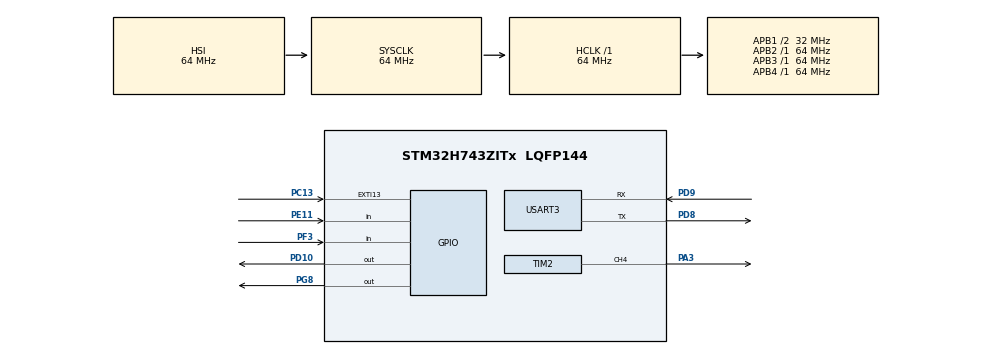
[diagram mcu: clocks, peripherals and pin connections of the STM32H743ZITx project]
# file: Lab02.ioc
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Mcu.Family=STM32H7
Mcu.Name=STM32H743ZITx
Mcu.Package=LQFP144
NVIC.EXTI15_10_IRQn=true\:0\:0\:false\:false\:true\:true\:true\:true
NVIC.PriorityGroup=NVIC_PRIORITYGROUP_4
NVIC.TIM2_IRQn=true\:0\:0\:false\:false\:true\:true\:true\:true
PA3.Signal=S_TIM2_CH4
PC13.GPIO_ModeDefaultEXTI=GPIO_MODE_IT_RISING
PC13.GPIO_PuPd=GPIO_NOPULL
PC13.Signal=GPXTI13
PD10.Signal=GPIO_Output
PD8.Mode=Asynchronous
PD8.Signal=USART3_TX
PD9.Mode=Asynchronous
PD9.Signal=USART3_RX
PE11.GPIO_PuPd=GPIO_PULLDOWN
PE11.Signal=GPIO_Input
PF3.GPIO_PuPd=GPIO_PULLDOWN
PF3.Signal=GPIO_Input
PG8.Signal=GPIO_Output
ProjectManager.HeapSize=0x200
ProjectManager.StackSize=0x400
ProjectManager.TargetToolchain=STM32CubeIDE
RCC.ADCFreq_Value=129000000
RCC.APB1Freq_Value=32000000
RCC.APB2Freq_Value=64000000
RCC.APB3Freq_Value=64000000
RCC.APB4Freq_Value=64000000
RCC.CortexFreq_Value=64000000
RCC.D2PPRE1=RCC_APB1_DIV2
RCC.HCLKFreq_Value=64000000
RCC.SYSCLKFreq_VALUE=64000000
RCC.USBFreq_Value=129000000
SH.S_TIM2_CH4.0=TIM2_CH4,PWM Generation4 CH4
TIM2.Channel-PWM\ Generation4\ CH4=TIM_CHANNEL_4
TIM2.Period=6400 - 1
USART3.VirtualMode-Asynchronous=VM_ASYNC
VP_TIM2_VS_ClockSourceINT.Mode=Internal
board=custom

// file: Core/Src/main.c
/* USER CODE BEGIN Header */
/**
  ******************************************************************************
  * @file           : main.c
  * @brief          : Main program body
  ******************************************************************************
  * @attention
  *
  * Copyright (c) 2024 STMicroelectronics.
  * All rights reserved.
  *
  * This software is licensed under terms that can be found in the LICENSE file
  * in the root directory of this software component.
  * If no LICENSE file comes with this software, it is provided AS-IS.
  *
  ******************************************************************************
  */
/* USER CODE END Header */
#include "main.h"

/* USER CODE BEGIN Includes */
#include "step_motor.h"
#include <math.h>
#include <stdio.h>
#include <stdlib.h>
#include <stdarg.h>
/* USER CODE END Includes */

TIM_HandleTypeDef htim2;

UART_HandleTypeDef huart3;

void SystemClock_Config(void);
static void MX_GPIO_Init(void);
static void MX_TIM2_Init(void);
static void MX_USART3_UART_Init(void);

/* USER CODE BEGIN 0 */
// Used for calibrate
uint32_t total_pulses = 0;   // Record the total pulses needed in half loop
uint32_t pulseCount = 0;	// Record the count of current pulses
uint8_t loop_num = 0; 	// Record the current loop

// Used for accelaration
// #define MAX_PULSES 200
uint32_t maxPulses = 800;
uint32_t startTime; // To keep track of when acceleration started
uint32_t lastTime;
uint32_t freqArray[100000];
uint32_t decelerateCount = 0;
uint32_t constantT = 75;
uint32_t R0 = 64e6 / 60000;
uint32_t Rs = 64e6 / 12000;
uint32_t curR = 64e6 / 60000;

volatile uint8_t isPressed = 0; 	// Check if we pressed user button
volatile uint8_t isAccelerating = 1; 	// Check if we need to accelerate
volatile uint8_t isDecelerating = 0; 	// Check if we need to decelerate

// DEBUG VARIABLE
//volatile uint16_t ii = 0;
//volatile uint16_t jj = 0;
//volatile uint16_t kk = 0;
//volatile uint32_t curPeriod = 0;
//volatile uint32_t curElapseTime = 0;

// Playing Variable
// volatile uint8_t isPlaying = 0;
uint32_t curNoteIndex = 0;
// Frequency array for "Twinkle, Twinkle, Little Star"
uint32_t noteFrequencies[] = {
    // 1 1 5 5 6 6 5
    523 * 7, 523 * 7, 392 * 7, 392 * 7, 440 * 7, 440 * 7, 392 * 7,
    // 4 4 3 3 2 2 1
    698 * 7, 698 * 7, 659 * 7, 659 * 7, 587 * 7, 587 * 7, 523 * 7,
    // 5 5 4 4 3 3 2
    392 * 7, 392 * 7, 698 * 7, 698 * 7, 659 * 7, 659 * 7, 587 * 7,
    // 5 5 4 4 3 3 2
    392 * 7, 392 * 7, 698 * 7, 698 * 7, 659 * 7, 659 * 7, 587 * 7,
    // 1 1 5 5 6 6 5
    523 * 7, 523 * 7, 392 * 7, 392 * 7, 440 * 7, 440 * 7, 392 * 7,
    // 4 4 3 3 2 2 1
    698 * 7, 698 * 7, 659 * 7, 659 * 7, 587 * 7, 587 * 7, 523 * 7
};

size_t noteSize = sizeof(noteFrequencies) / sizeof(noteFrequencies[0]);

//----------------
//Support code (copy&paste):
void mywrite (unsigned char *st, int nby)
{
	if (nby) HAL_UART_Transmit(&huart3,st,nby,10);
}

void myprintf (const char *fmt, ...)
{
	va_list arglist;
	int nby;
	unsigned char st[256];
	if (!fmt) return;
	va_start(arglist,fmt);
	nby = vsnprintf((char *)st,sizeof(st),fmt,arglist);
	va_end(arglist);
	if (nby < 0) { nby = sizeof(st)-1; } //print truncated string in case too long
	if (nby) HAL_UART_Transmit(&huart3,st,nby,10);
}

void setToCenter(){
	if(loop_num == 1){
	  pulseCount++;
	} else if(loop_num == 2){
		total_pulses--;
		if(total_pulses == 0){
			HAL_TIM_PWM_Stop(&htim2, TIM_CHANNEL_4); // Stop PWM
			HAL_GPIO_WritePin(GPIOG, GPIO_PIN_8, GPIO_PIN_SET);
			// HAL_Delay(5000);
		}
	}
}

void accelerationProcess(uint32_t maxFreq){
	 if(isPressed  == 1){
		if(pulseCount < maxPulses){
			// Get current time and elapsetime during a pulse
			 uint32_t currentTime = HAL_GetTick();
			 uint32_t elapseTime = currentTime - lastTime;
			 // curR represent latest frequency
			 // I need to initialize the array here so that it could store all the required value,
			 // If I put this array after I update curR, I won't come back to the initial period.
			 freqArray[pulseCount] = curR;	// Using a array to store the latest frequency

//           DEBUG VARIABLE
//			 curPeriod = 64e6 / curR ;
//			 curElapseTime = elapseTime;
			 // POSSIBLE BUG: Since curR is a integer, the initial value could become 1066, which could
			 // lead 64e6 / 1066 become 60037, a bit of different with 60000, and finally the period will
			 // recover to this value.

			 curR = curR + ((Rs - R0) * elapseTime) / constantT;	// Update formula
			 if(curR > maxFreq){
				 curR = maxFreq;
			 }
			 uint32_t newPeriod = 64e6 / curR ;	// Update the new period and duty cycle

			 TIM2->ARR = newPeriod;
			 TIM2->CCR4 = newPeriod / 2;
			 pulseCount++;
//			 DEBUG VARIABLE
//			 ii++;
		} else if(pulseCount >= maxPulses && pulseCount < (uint32_t) (maxPulses * 1.5)){
			// If I run into constant speed mode, just increase pulseCount and do
			// not change the speed now
			pulseCount++;
			// If I found that it already reach the time limit, change the state to
			// deceleration state
			if(pulseCount == (uint32_t) (maxPulses * 1.5)){
				isDecelerating = 1;
			}
//			 DEBUG VARIABLE
//			jj++;
		} else if(isDecelerating && decelerateCount <= maxPulses){
			// I set the deceleration period to MAX_PULSES pulses, then I'll retrieve
			// the value I stored at freqArray to make it come back to the original state
			if(decelerateCount < maxPulses){
				// Using a deceleration count, to track if we reach the deceleration limit
				uint32_t newPeriod = 64e6 / freqArray[maxPulses - decelerateCount - 1];
			    TIM2->ARR = newPeriod;
			    TIM2->CCR4 = newPeriod / 2;
			    decelerateCount++;
			    pulseCount++;

//			 	DEBUG VARIABLE
//				curPeriod = newPeriod;
// 				kk++;
			} else {
				// Deceleration is done, re-initialize the relevant variable
				isDecelerating = 0;
				pulseCount = 0;
				decelerateCount = 0;
				curR = R0;
				GPIO_PinState curDirection = HAL_GPIO_ReadPin(GPIOD, GPIO_PIN_10);
				GPIO_PinState newDirection = (curDirection == GPIO_PIN_SET) ? GPIO_PIN_RESET : GPIO_PIN_SET;
				HAL_GPIO_WritePin(GPIOD, GPIO_PIN_10, newDirection);
				// Code may not used when playing music
//				isPressed = 0;
				// Code need to be used when playing music
				curNoteIndex++;
//				HAL_TIM_PWM_Stop_IT(&htim2,TIM_CHANNEL_4);
// 				HAL_Delay(20);
//				HAL_TIM_PWM_Start_IT(&htim2,TIM_CHANNEL_4);
//			 	DEBUG VARIABLE
//			   kk++;
			}
		}
	 }
}

void playTheSong(uint32_t curFreq){
	uint32_t prevPulse = curFreq;
	accelerationProcess(curFreq);
	if(curFreq != prevPulse){
		HAL_TIM_PWM_Stop_IT(&htim2,TIM_CHANNEL_4);
		HAL_Delay(100);
		HAL_TIM_PWM_Start_IT(&htim2,TIM_CHANNEL_4);
	}
}

void HAL_TIM_PWM_PulseFinishedCallback (TIM_HandleTypeDef *htim){
	 if (htim == &htim2)
	 {
		 // The following function is used for calibrate
		  setToCenter();
		 // accelerationProcess(maxPulses);

		 // PLAYING MUSIC CODE
		  // HAL_TIM_PWM_Start_IT(&htim2,TIM_CHANNEL_4);
		 // If I press the user button here, it begins running
		 playTheSong(noteFrequencies[curNoteIndex]); // Play the current note
		 // curNoteIndex++;	// Increase the note index

		 // If it already reach the limit, reset all the values.
		 if(curNoteIndex == noteSize){
			curNoteIndex = 0;
			isPressed = 0;
			HAL_TIM_PWM_Stop_IT(&htim2,TIM_CHANNEL_4);
		 }

		 lastTime = HAL_GetTick();
	 }
}

//int a = 0;
void HAL_GPIO_EXTI_Callback(uint16_t GPIO_Pin){
    if(GPIO_Pin == GPIO_PIN_13){
//        // Simple software debouncing: check if the button is still pressed after a delay
//      HAL_Delay(50); // 50 ms for debouncing delay
        isPressed = 1;
//		curNoteIndex = 0;
//      HAL_TIM_PWM_Start_IT(&htim2,TIM_CHANNEL_4);
    }
}

/* USER CODE END 0 */

int main(void)
{

  /* MCU Configuration--------------------------------------------------------*/

  /* Reset of all peripherals, Initializes the Flash interface and the Systick. */
  HAL_Init();

  /* Configure the system clock */
  SystemClock_Config();

  /* Initialize all configured peripherals */
  MX_GPIO_Init();
  MX_TIM2_Init();
  MX_USART3_UART_Init();
  /* USER CODE BEGIN 2 */
  /*Configure GPIO pin Output Level */
  HAL_GPIO_WritePin(GPIOC, GPIO_PIN_13, GPIO_PIN_RESET);
  HAL_GPIO_WritePin(GPIOD, GPIO_PIN_10, GPIO_PIN_SET);

  // Maximum: 12000, minimum: 60000
   uint16_t period = 60000;
   TIM2->ARR = period; // first period
   TIM2->CCR4 = period / 2; // first duty cycle (50%)
   HAL_GPIO_WritePin(GPIOG, GPIO_PIN_8, GPIO_PIN_RESET);
   HAL_TIM_PWM_Start_IT(&htim2,TIM_CHANNEL_4);
  /* USER CODE END 2 */

  /* Infinite loop */
  /* USER CODE BEGIN WHILE */
  while (1)
  {
	  uint8_t leftState = HAL_GPIO_ReadPin(GPIOE, GPIO_PIN_11);
	  uint8_t rightState = HAL_GPIO_ReadPin(GPIOF, GPIO_PIN_3);

	  if(!leftState || !rightState){
		  // Increase the count of current loop
		  loop_num++;
		  if(loop_num == 2)	total_pulses = pulseCount / 2;
		  HAL_TIM_PWM_Stop(&htim2, TIM_CHANNEL_4); // Stop PWM

		  GPIO_PinState curDirection = HAL_GPIO_ReadPin(GPIOD, GPIO_PIN_10);
		  GPIO_PinState newDirection = (curDirection == GPIO_PIN_SET) ? GPIO_PIN_RESET : GPIO_PIN_SET;
		  HAL_GPIO_WritePin(GPIOD, GPIO_PIN_10, newDirection);
		  HAL_Delay(100);

		  HAL_GPIO_WritePin(GPIOG, GPIO_PIN_8, GPIO_PIN_RESET);
		  HAL_TIM_PWM_Start(&htim2, TIM_CHANNEL_4);
	 }
	HAL_Delay(200);

    /* USER CODE END WHILE */

  }
}

void SystemClock_Config(void)
{
  RCC_OscInitTypeDef RCC_OscInitStruct = {0};
  RCC_ClkInitTypeDef RCC_ClkInitStruct = {0};

  /** Supply configuration update enable
  */
  HAL_PWREx_ConfigSupply(PWR_LDO_SUPPLY);

  /** Configure the main internal regulator output voltage
  */
  __HAL_PWR_VOLTAGESCALING_CONFIG(PWR_REGULATOR_VOLTAGE_SCALE3);

  while(!__HAL_PWR_GET_FLAG(PWR_FLAG_VOSRDY)) {}

  /** Initializes the RCC Oscillators according to the specified parameters
  * in the RCC_OscInitTypeDef structure.
  */
  RCC_OscInitStruct.OscillatorType = RCC_OSCILLATORTYPE_HSI;
  RCC_OscInitStruct.HSIState = RCC_HSI_DIV1;
  RCC_OscInitStruct.HSICalibrationValue = RCC_HSICALIBRATION_DEFAULT;
  RCC_OscInitStruct.PLL.PLLState = RCC_PLL_NONE;
  if (HAL_RCC_OscConfig(&RCC_OscInitStruct) != HAL_OK)
  {
    Error_Handler();
  }

  /** Initializes the CPU, AHB and APB buses clocks
  */
  RCC_ClkInitStruct.ClockType = RCC_CLOCKTYPE_HCLK|RCC_CLOCKTYPE_SYSCLK
                              |RCC_CLOCKTYPE_PCLK1|RCC_CLOCKTYPE_PCLK2
                              |RCC_CLOCKTYPE_D3PCLK1|RCC_CLOCKTYPE_D1PCLK1;
  RCC_ClkInitStruct.SYSCLKSource = RCC_SYSCLKSOURCE_HSI;
  RCC_ClkInitStruct.SYSCLKDivider = RCC_SYSCLK_DIV1;
  RCC_ClkInitStruct.AHBCLKDivider = RCC_HCLK_DIV1;
  RCC_ClkInitStruct.APB3CLKDivider = RCC_APB3_DIV1;
  RCC_ClkInitStruct.APB1CLKDivider = RCC_APB1_DIV2;
  RCC_ClkInitStruct.APB2CLKDivider = RCC_APB2_DIV1;
  RCC_ClkInitStruct.APB4CLKDivider = RCC_APB4_DIV1;

  if (HAL_RCC_ClockConfig(&RCC_ClkInitStruct, FLASH_LATENCY_1) != HAL_OK)
  {
    Error_Handler();
  }
}

static void MX_TIM2_Init(void)
{

  TIM_ClockConfigTypeDef sClockSourceConfig = {0};
  TIM_MasterConfigTypeDef sMasterConfig = {0};
  TIM_OC_InitTypeDef sConfigOC = {0};

  htim2.Instance = TIM2;
  htim2.Init.Prescaler = 0;
  htim2.Init.CounterMode = TIM_COUNTERMODE_UP;
  htim2.Init.Period = 6400 - 1;
  htim2.Init.ClockDivision = TIM_CLOCKDIVISION_DIV1;
  htim2.Init.AutoReloadPreload = TIM_AUTORELOAD_PRELOAD_DISABLE;
  if (HAL_TIM_Base_Init(&htim2) != HAL_OK)
  {
    Error_Handler();
  }
  sClockSourceConfig.ClockSource = TIM_CLOCKSOURCE_INTERNAL;
  if (HAL_TIM_ConfigClockSource(&htim2, &sClockSourceConfig) != HAL_OK)
  {
    Error_Handler();
  }
  if (HAL_TIM_PWM_Init(&htim2) != HAL_OK)
  {
    Error_Handler();
  }
  sMasterConfig.MasterOutputTrigger = TIM_TRGO_RESET;
  sMasterConfig.MasterSlaveMode = TIM_MASTERSLAVEMODE_DISABLE;
  if (HAL_TIMEx_MasterConfigSynchronization(&htim2, &sMasterConfig) != HAL_OK)
  {
    Error_Handler();
  }
  sConfigOC.OCMode = TIM_OCMODE_PWM1;
  sConfigOC.Pulse = 0;
  sConfigOC.OCPolarity = TIM_OCPOLARITY_HIGH;
  sConfigOC.OCFastMode = TIM_OCFAST_DISABLE;
  if (HAL_TIM_PWM_ConfigChannel(&htim2, &sConfigOC, TIM_CHANNEL_4) != HAL_OK)
  {
    Error_Handler();
  }
  HAL_TIM_MspPostInit(&htim2);

}

static void MX_USART3_UART_Init(void)
{

  huart3.Instance = USART3;
  huart3.Init.BaudRate = 115200;
  huart3.Init.WordLength = UART_WORDLENGTH_8B;
  huart3.Init.StopBits = UART_STOPBITS_1;
  huart3.Init.Parity = UART_PARITY_NONE;
  huart3.Init.Mode = UART_MODE_TX_RX;
  huart3.Init.HwFlowCtl = UART_HWCONTROL_NONE;
  huart3.Init.OverSampling = UART_OVERSAMPLING_16;
  huart3.Init.OneBitSampling = UART_ONE_BIT_SAMPLE_DISABLE;
  huart3.Init.ClockPrescaler = UART_PRESCALER_DIV1;
  huart3.AdvancedInit.AdvFeatureInit = UART_ADVFEATURE_NO_INIT;
  if (HAL_UART_Init(&huart3) != HAL_OK)
  {
    Error_Handler();
  }
  if (HAL_UARTEx_SetTxFifoThreshold(&huart3, UART_TXFIFO_THRESHOLD_1_8) != HAL_OK)
  {
    Error_Handler();
  }
  if (HAL_UARTEx_SetRxFifoThreshold(&huart3, UART_RXFIFO_THRESHOLD_1_8) != HAL_OK)
  {
    Error_Handler();
  }
  if (HAL_UARTEx_DisableFifoMode(&huart3) != HAL_OK)
  {
    Error_Handler();
  }

}

static void MX_GPIO_Init(void)
{
  GPIO_InitTypeDef GPIO_InitStruct = {0};

  /* GPIO Ports Clock Enable */
  __HAL_RCC_GPIOC_CLK_ENABLE();
  __HAL_RCC_GPIOF_CLK_ENABLE();
  __HAL_RCC_GPIOA_CLK_ENABLE();
  __HAL_RCC_GPIOE_CLK_ENABLE();
  __HAL_RCC_GPIOD_CLK_ENABLE();
  __HAL_RCC_GPIOG_CLK_ENABLE();

  /*Configure GPIO pin Output Level */
  HAL_GPIO_WritePin(GPIOD, GPIO_PIN_10, GPIO_PIN_RESET);

  /*Configure GPIO pin Output Level */
  HAL_GPIO_WritePin(GPIOG, GPIO_PIN_8, GPIO_PIN_RESET);

  /*Configure GPIO pin : PC13 */
  GPIO_InitStruct.Pin = GPIO_PIN_13;
  GPIO_InitStruct.Mode = GPIO_MODE_IT_RISING;
  GPIO_InitStruct.Pull = GPIO_NOPULL;
  HAL_GPIO_Init(GPIOC, &GPIO_InitStruct);

  /*Configure GPIO pin : PF3 */
  GPIO_InitStruct.Pin = GPIO_PIN_3;
  GPIO_InitStruct.Mode = GPIO_MODE_INPUT;
  GPIO_InitStruct.Pull = GPIO_PULLDOWN;
  HAL_GPIO_Init(GPIOF, &GPIO_InitStruct);

  /*Configure GPIO pin : PE11 */
  GPIO_InitStruct.Pin = GPIO_PIN_11;
  GPIO_InitStruct.Mode = GPIO_MODE_INPUT;
  GPIO_InitStruct.Pull = GPIO_PULLDOWN;
  HAL_GPIO_Init(GPIOE, &GPIO_InitStruct);

  /*Configure GPIO pin : PD10 */
  GPIO_InitStruct.Pin = GPIO_PIN_10;
  GPIO_InitStruct.Mode = GPIO_MODE_OUTPUT_PP;
  GPIO_InitStruct.Pull = GPIO_NOPULL;
  GPIO_InitStruct.Speed = GPIO_SPEED_FREQ_LOW;
  HAL_GPIO_Init(GPIOD, &GPIO_InitStruct);

  /*Configure GPIO pin : PG8 */
  GPIO_InitStruct.Pin = GPIO_PIN_8;
  GPIO_InitStruct.Mode = GPIO_MODE_OUTPUT_PP;
  GPIO_InitStruct.Pull = GPIO_NOPULL;
  GPIO_InitStruct.Speed = GPIO_SPEED_FREQ_LOW;
  HAL_GPIO_Init(GPIOG, &GPIO_InitStruct);

  /* EXTI interrupt init*/
  HAL_NVIC_SetPriority(EXTI15_10_IRQn, 0, 0);
  HAL_NVIC_EnableIRQ(EXTI15_10_IRQn);

}

void Error_Handler(void)
{
  __disable_irq();
  while (1)
  {
  }
}
